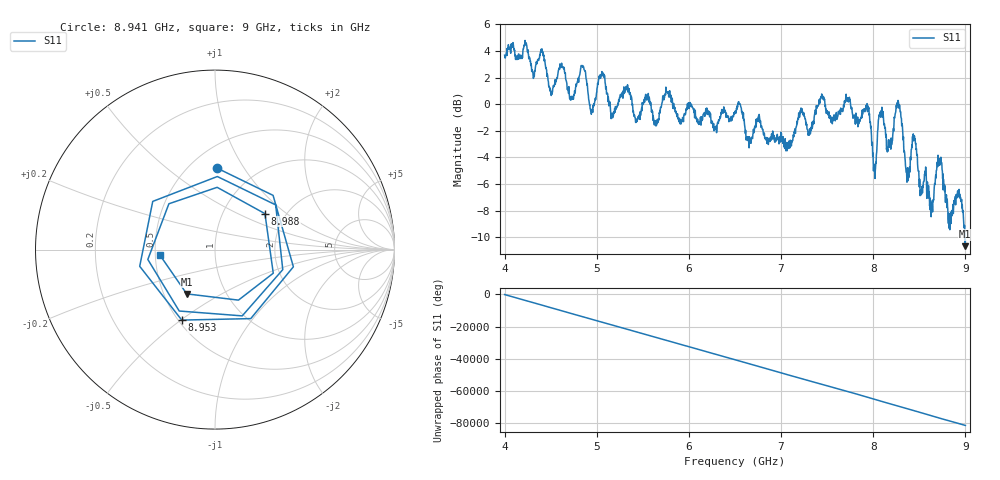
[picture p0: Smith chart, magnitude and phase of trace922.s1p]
! Created with skrf 1.8.0 (http://scikit-rf.org).
# Hz S RI R 50.0
!freq ReS11 ImS11
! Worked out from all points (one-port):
!   1601 points, 4 GHz to 9 GHz, reference 50 ohm
!   lowest |S11| = -10.7 dB at 8.997 GHz (marker M1), VSWR 1.83, Z = 32.6 - j17.6 ohm
!   |S11| at or under -10 dB: 8.993536 GHz to end of sweep
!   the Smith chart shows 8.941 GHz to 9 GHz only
!   S11 on the Smith chart (normalised r, x): 8.941 GHz: 0.67, +0.77; 8.953 GHz: 0.52, -0.50; 8.988 GHz: 1.57, +0.71; 9 GHz: 0.53, -0.04
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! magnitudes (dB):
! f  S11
! 4 GHz  3.7
! 4.406 GHz  4.1
! 4.503 GHz  0.8
! 4.625 GHz  2.8
! 4.725 GHz  0.3
! 4.85 GHz  2.8
! 4.944 GHz  -0.5
! 5.053 GHz  2.2
! 5.25 GHz  0.5
! 5.875 GHz  -0.7
! 6.5 GHz  -0.6
! 7.125 GHz  -2.8
! 7.75 GHz  0.3
! 7.938 GHz  -0.6
! 8.016 GHz  -4.5
! 8.081 GHz  -1.0
! 8.169 GHz  -3.2
! 8.272 GHz  0.2
! 8.375 GHz  -5.4
! 8.444 GHz  -2.5
! 8.628 GHz  -8.5
! 8.719 GHz  -4.6
! 8.831 GHz  -9.4
! 8.941 GHz  -6.9
! 8.953 GHz  -7.2
! 8.988 GHz  -9.3
! 8.997 GHz  -10.7
! 9 GHz  -10.3
